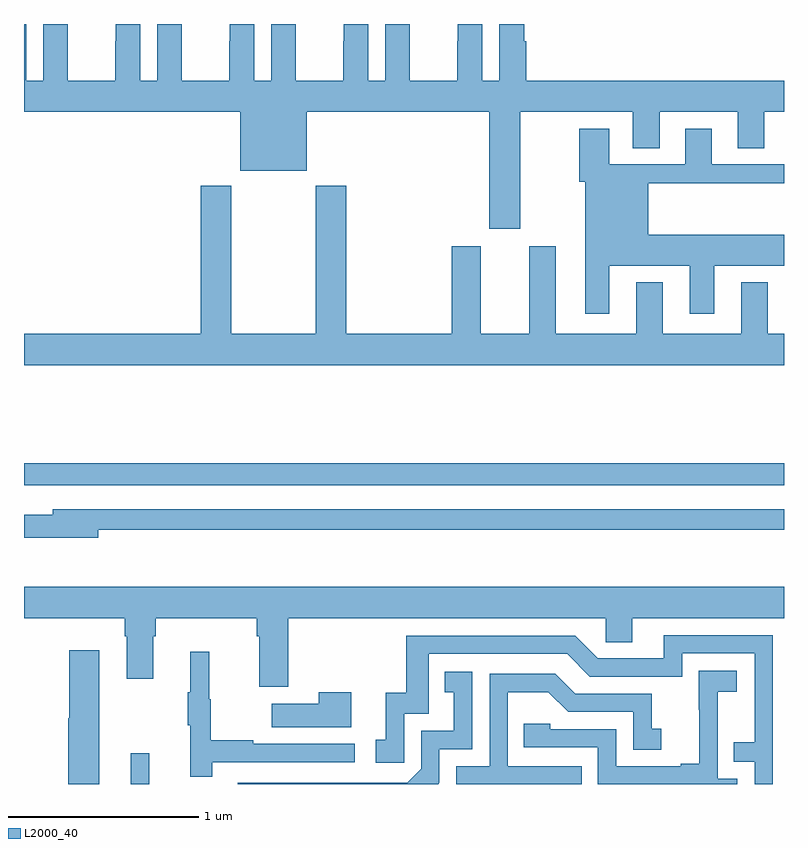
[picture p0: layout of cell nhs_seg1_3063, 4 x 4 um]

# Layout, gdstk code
import gdstk
lib = gdstk.Library(unit=1e-6, precision=1e-09)
def R(c, l, rs):  # rectangles x0, y0, x1, y1
    for r in rs: c.add(gdstk.rectangle(r[:2], r[2:], *l))
def P(c, l, *ps):  # polygons
    for p in ps: c.add(gdstk.Polygon(p, *l))
L2000_40 = (2000, 40)

nhs_seg1_3063 = lib.new_cell('nhs_seg1_3063')
R(nhs_seg1_3063, L2000_40, [(277.562,544.199,277.659,544.36), (277,545.772,281,545.888)])
P(nhs_seg1_3063, L2000_40, [(279.613,547.736),(280.205,547.736),(280.205,547.546),(280.345,547.546),(280.345,547.736),(280.757,547.736),(280.757,547.546),(280.897,547.546),(280.897,547.736),(281,547.736),(281,547.9),(279.644,547.9),(279.644,548.108),(279.634,548.108),(279.634,548.199),(279.5,548.199),(279.5,547.9),(279.412,547.9),(279.412,548.199),(279.282,548.199),(279.282,548.108),(279.281,548.108),(279.281,547.9),(279.031,547.9),(279.031,548.108),(279.03,548.108),(279.03,548.199),(278.9,548.199),(278.9,547.9),(278.812,547.9),(278.812,548.199),(278.682,548.199),(278.682,548.108),(278.681,548.108),(278.681,547.9),(278.431,547.9),(278.431,548.108),(278.43,548.108),(278.43,548.199),(278.3,548.199),(278.3,547.9),(278.212,547.9),(278.212,548.199),(278.082,548.199),(278.082,548.108),(278.081,548.108),(278.081,547.9),(277.831,547.9),(277.831,548.108),(277.83,548.108),(277.83,548.199),(277.7,548.199),(277.7,547.9),(277.612,547.9),(277.612,548.199),(277.482,548.199),(277.482,548.108),(277.481,548.108),(277.481,547.9),(277.231,547.9),(277.231,548.108),(277.23,548.108),(277.23,548.199),(277.1,548.199),(277.1,547.9),(277.012,547.9),(277.012,548.199),(277,548.199),(277,547.736),(278.138,547.736),(278.138,547.427),(278.488,547.427),(278.488,547.736),(279.449,547.736),(279.449,547.122),(279.613,547.122)],
  [(280.081,546.926),(280.505,546.926),(280.505,546.675),(280.633,546.675),(280.633,546.926),(281,546.926),(281,547.09),(280.285,547.09),(280.285,547.36),(281,547.36),(281,547.461),(280.621,547.461),(280.621,547.648),(280.481,547.648),(280.481,547.461),(280.081,547.461),(280.081,547.648),(279.922,547.648),(279.922,547.368),(279.953,547.368),(279.953,546.675),(280.081,546.675)],
  [(281,546.568),(280.915,546.568),(280.915,546.841),(280.775,546.841),(280.775,546.568),(280.363,546.568),(280.363,546.841),(280.223,546.841),(280.223,546.568),(279.799,546.568),(279.799,547.03),(279.659,547.03),(279.659,546.568),(279.403,546.568),(279.403,547.03),(279.251,547.03),(279.251,546.568),(278.696,546.568),(278.696,547.348),(278.536,547.348),(278.536,546.568),(278.091,546.568),(278.091,547.348),(277.931,547.348),(277.931,546.568),(277,546.568),(277,546.404),(281,546.404)],
  [(277.39,545.538),(281,545.538),(281,545.646),(277.151,545.646),(277.151,545.617),(277.002,545.617),(277.002,545.495),(277.39,545.495)],
  [(278.39,545.072),(280.062,545.072),(280.062,544.945),(280.201,544.945),(280.201,545.072),(281,545.072),(281,545.236),(277,545.236),(277,545.072),(277.529,545.072),(277.529,544.976),(277.541,544.976),(277.541,544.752),(277.681,544.752),(277.681,544.976),(277.694,544.976),(277.694,545.072),(278.225,545.072),(278.225,544.976),(278.237,544.976),(278.237,544.71),(278.39,544.71)],
  [(280.941,544.983),(280.367,544.983),(280.367,544.86),(280.02,544.86),(279.9,544.98),(279.013,544.98),(279.013,544.678),(278.903,544.678),(278.903,544.431),(278.85,544.431),(278.85,544.311),(279,544.311),(279,544.569),(279.129,544.569),(279.129,544.884),(279.858,544.884),(279.978,544.764),(280.464,544.764),(280.464,544.887),(280.845,544.887),(280.845,544.418),(280.735,544.418),(280.735,544.317),(280.845,544.317),(280.845,544.199),(280.941,544.199)],
  [(277.396,544.903),(277.238,544.903),(277.238,544.545),(277.232,544.545),(277.232,544.199),(277.396,544.199)],
  [(277.991,544.314),(278.74,544.314),(278.74,544.41),(278.207,544.41),(278.207,544.43),(277.984,544.43),(277.984,544.644),(277.976,544.644),(277.976,544.894),(277.874,544.894),(277.874,544.681),(277.863,544.681),(277.863,544.507),(277.874,544.507),(277.874,544.236),(277.991,544.236)],
  [(280.755,544.227),(280.65,544.227),(280.65,544.457),(280.652,544.457),(280.652,544.685),(280.75,544.685),(280.75,544.795),(280.552,544.795),(280.552,544.589),(280.553,544.589),(280.553,544.306),(280.457,544.306),(280.457,544.293),(280.116,544.293),(280.116,544.488),(279.771,544.488),(279.771,544.515),(279.631,544.515),(279.631,544.392),(280.02,544.392),(280.02,544.199),(280.755,544.199)],
  [(279.186,544.206),(279.186,544.383),(279.36,544.383),(279.36,544.789),(279.214,544.789),(279.214,544.683),(279.263,544.683),(279.263,544.479),(279.09,544.479),(279.09,544.278),(279.018,544.206),(278.124,544.206),(278.124,544.199),(279.179,544.199)],
  [(279.935,544.293),(279.546,544.293),(279.546,544.682),(279.76,544.682),(279.864,544.578),(280.206,544.578),(280.206,544.38),(280.354,544.38),(280.354,544.489),(280.305,544.489),(280.305,544.674),(279.901,544.674),(279.796,544.779),(279.45,544.779),(279.45,544.293),(279.276,544.293),(279.276,544.199),(279.935,544.199)],
  [(278.722,544.681),(278.552,544.681),(278.552,544.621),(278.303,544.621),(278.303,544.499),(278.722,544.499)])

lib.write_gds('nhs_seg1_3063.gds')
